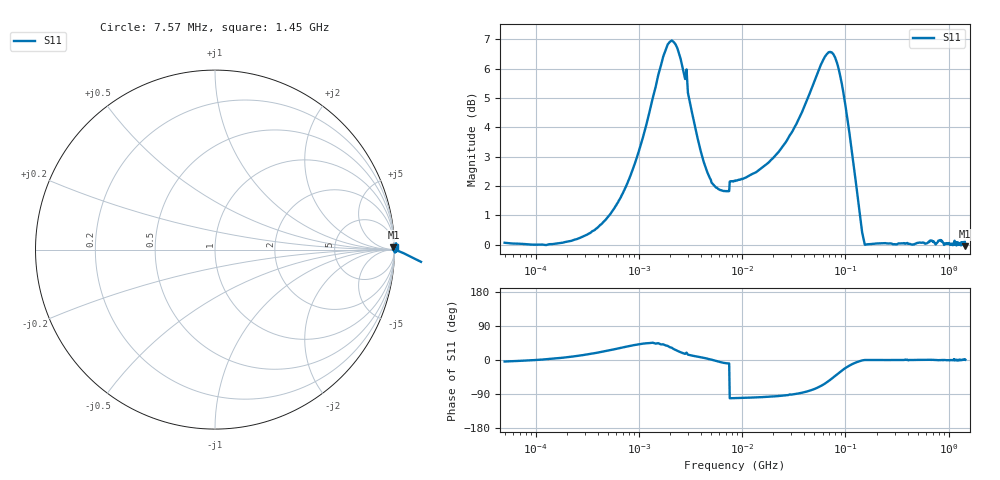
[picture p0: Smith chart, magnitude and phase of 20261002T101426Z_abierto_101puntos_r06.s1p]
! piloto_saltos / abierto_101puntos / r06
# HZ S RI R 50
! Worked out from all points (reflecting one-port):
!   501 points, 50 kHz to 1.45 GHz, reference 50 ohm
!   lowest |S11| = 0.0 dB at 1.423 GHz (marker M1), VSWR 363.40, Z = 2.96e+03 + j6.71e+03 ohm
!   phase of S11 starts at -4 deg and turns +5 deg over the sweep
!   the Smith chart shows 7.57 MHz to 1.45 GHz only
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50000  1.005 -0.0704
183000  1.003 0.1058
373000  1.008 0.3285
658000  1.021 0.6306
1180000  1.15 1.115
1720000  1.571 1.384
1990000  1.842 1.233
2440000  1.959 0.8051
3340000  1.617 0.3172
4690000  1.316 0.0695
7300000  1.219 -0.1914
7750000  -0.2411 -1.26
8560000  -0.2344 -1.263
1.81e7  -0.1693 -1.371
3.16e7  -0.011 -1.577
4.69e7  0.3391 -1.814
5.68e7  0.6981 -1.887
6.49e7  1.046 -1.827
7.39e7  1.4 -1.599
8.65e7  1.65 -1.1
9.82e7  1.627 -0.6733
1e8  1.609 -0.621
1.18e8  1.377 -0.2434
1.36e8  1.148 -0.0682
1.63e8  1.002 0.00016
4.06e8  1.003 -0.0163
1.423e9  0.9944 0.0124
1.45e9  1.004 0.013
